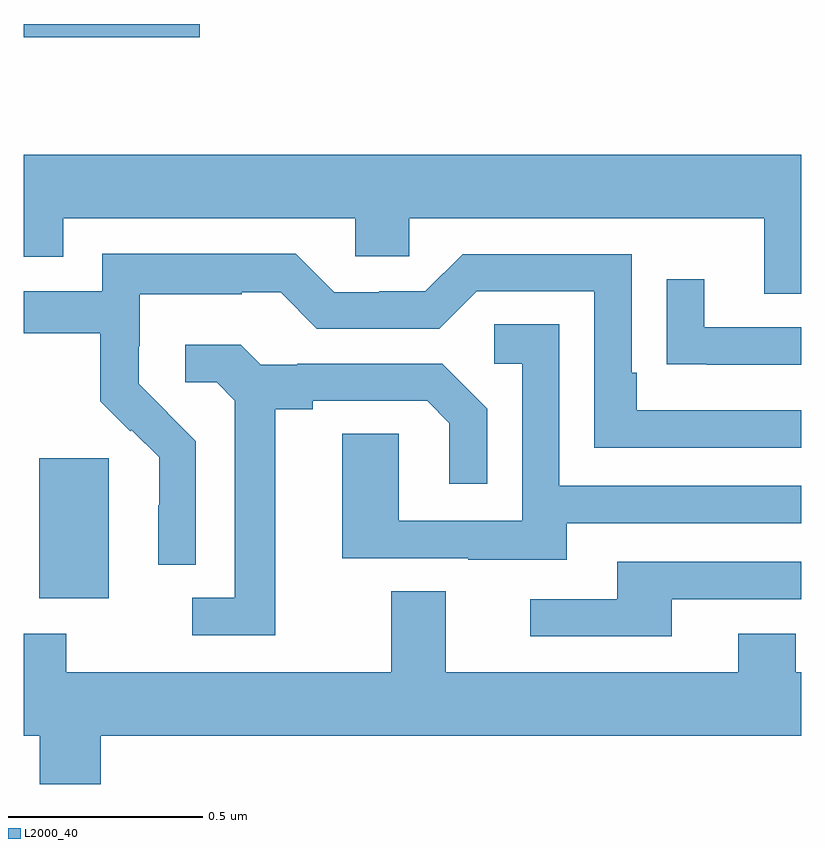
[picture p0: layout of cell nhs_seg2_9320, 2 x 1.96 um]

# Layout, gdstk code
import gdstk
lib = gdstk.Library(unit=1e-6, precision=1e-09)
def R(c, l, rs):  # rectangles x0, y0, x1, y1
    for r in rs: c.add(gdstk.rectangle(r[:2], r[2:], *l))
def P(c, l, *ps):  # polygons
    for p in ps: c.add(gdstk.Polygon(p, *l))
L2000_40 = (2000, 40)

nhs_seg2_9320 = lib.new_cell('nhs_seg2_9320')
R(nhs_seg2_9320, L2000_40, [(227.039,649.322,227.218,649.683), (227,650.766,227.453,650.8)])
P(nhs_seg2_9320, L2000_40, [(229,650.464),(227,650.464),(227,650.201),(227.101,650.201),(227.101,650.3),(227.853,650.3),(227.853,650.202),(227.991,650.202),(227.991,650.3),(228.905,650.3),(228.905,650.106),(229,650.106)],
  [(227.442,649.726),(227.369,649.799),(227.37,649.8),(227.296,649.874),(227.296,649.971),(227.298,649.971),(227.298,650.105),(227.561,650.105),(227.561,650.109),(227.661,650.109),(227.754,650.016),(228.069,650.016),(228.165,650.112),(228.468,650.112),(228.468,649.71),(229,649.71),(229,649.806),(228.577,649.806),(228.577,649.903),(228.564,649.903),(228.564,650.208),(228.129,650.208),(228.033,650.112),(227.915,650.112),(227.915,650.109),(227.799,650.109),(227.699,650.209),(227.202,650.209),(227.202,650.112),(227,650.112),(227,650.004),(227.197,650.004),(227.197,649.829),(227.274,649.752),(227.277,649.755),(227.348,649.685),(227.348,649.562),(227.346,649.562),(227.346,649.408),(227.442,649.408)],
  [(229,650.019),(228.751,650.019),(228.751,650.143),(228.655,650.143),(228.655,649.924),(228.757,649.924),(228.757,649.923),(229,649.923)],
  [(228.397,649.515),(229,649.515),(229,649.611),(228.378,649.611),(228.378,650.027),(228.21,650.027),(228.21,649.926),(228.282,649.926),(228.282,649.521),(227.964,649.521),(227.964,649.745),(227.819,649.745),(227.819,649.425),(228.143,649.425),(228.143,649.421),(228.397,649.421)],
  [(227.647,649.808),(227.743,649.808),(227.743,649.83),(228.038,649.83),(228.095,649.773),(228.095,649.617),(228.192,649.617),(228.192,649.81),(228.076,649.926),(227.704,649.926),(227.704,649.923),(227.61,649.923),(227.558,649.975),(227.415,649.975),(227.415,649.878),(227.496,649.878),(227.543,649.831),(227.543,649.323),(227.433,649.323),(227.433,649.227),(227.647,649.227)],
  [(228.667,649.32),(229,649.32),(229,649.416),(228.527,649.416),(228.527,649.32),(228.303,649.32),(228.303,649.224),(228.667,649.224)],
  [(227.198,648.968),(229,648.968),(229,649.132),(228.987,649.132),(228.987,649.231),(228.839,649.231),(228.839,649.132),(228.085,649.132),(228.085,649.34),(227.945,649.34),(227.945,649.132),(227.109,649.132),(227.109,649.231),(227,649.231),(227,648.968),(227.041,648.968),(227.041,648.844),(227.198,648.844)])

lib.write_gds('nhs_seg2_9320.gds')
